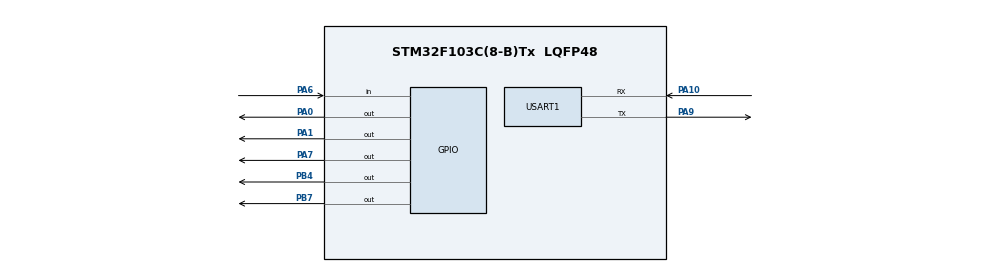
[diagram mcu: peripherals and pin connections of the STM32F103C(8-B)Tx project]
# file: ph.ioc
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Mcu.Family=STM32F1
Mcu.Name=STM32F103C(8-B)Tx
Mcu.Package=LQFP48
NVIC.PriorityGroup=NVIC_PRIORITYGROUP_4
PA0-WKUP.Signal=GPIO_Output
PA1.Signal=GPIO_Output
PA10.Mode=Asynchronous
PA10.Signal=USART1_RX
PA13.Mode=Serial_Wire
PA13.Signal=SYS_JTMS-SWDIO
PA14.Mode=Serial_Wire
PA14.Signal=SYS_JTCK-SWCLK
PA6.Signal=GPIO_Input
PA7.Signal=GPIO_Output
PA9.Mode=Asynchronous
PA9.Signal=USART1_TX
PB4.Signal=GPIO_Output
PB7.Signal=GPIO_Output
ProjectManager.HeapSize=0x200
ProjectManager.StackSize=0x400
ProjectManager.TargetToolchain=MDK-ARM V5
RCC.APB1Freq_Value=8000000
RCC.APB2Freq_Value=8000000
USART1.VirtualMode=VM_ASYNC
VP_CRC_VS_CRC.Mode=CRC_Activate
board=custom

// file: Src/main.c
/* USER CODE BEGIN Header */
/**
  ******************************************************************************
  * @file           : main.c
  * @brief          : Main program body
  ******************************************************************************
  * @attention
  *
  * <h2><center>&copy; Copyright (c) 2019 STMicroelectronics.
  * All rights reserved.</center></h2>
  *
  * This software component is licensed by ST under BSD 3-Clause license,
  * the "License"; You may not use this file except in compliance with the
  * License. You may obtain a copy of the License at:
  *                        opensource.org/licenses/BSD-3-Clause
  *
  ******************************************************************************
  */
/* USER CODE END Header */

#include "main.h"
#include "crc.h"
#include "usart.h"
#include "gpio.h"
#include        <math.h>

/* USER CODE BEGIN PTD */
#include <stdio.h>
unsigned int chin[4];
float chin1[4],curr,percent,span,zero;
unsigned int tagcj;
unsigned char serialfg,a[4];
unsigned char tagcj2,dizhi;
unsigned long eepromadd=0x08080000,romadd;//0x0808 07FF--2047
unsigned char aRxBuffer;

void Delay(uint32_t nCount)
{
	int m, n;

	for(m=nCount; m>0; m--)
	{
		for(n=65535; n>0; n--)
			;
	}
}
unsigned char Read8()
{
	unsigned char cLoop,j;
	unsigned char cData;
	for(cLoop=0;cLoop<8;cLoop++)
	{
	  for(j=0;j<13;j++)
	  {
				/*CS5524-SCK*/
			  HAL_GPIO_WritePin(GPIOA,GPIO_PIN_1,GPIO_PIN_RESET);//SPI2_SCK=0;
  	}
	  for(j=0;j<13;j++)
	  {
				/*CS5524-SCK*/
				HAL_GPIO_WritePin(GPIOA,GPIO_PIN_1, GPIO_PIN_SET);//SPI2_SCK=1;
	  }
	  //bData=SPI2_MISO;
	  cData<<=1;
		if(HAL_GPIO_ReadPin(GPIOA, GPIO_PIN_6) != 0)
		{
			cData|=0x01;//return SHIELD_DETECTED;CS5524-SO
		}

	}
	return cData;
}
void Write8(unsigned char cData)
{
	unsigned char cLoop,j;

	for(cLoop=0;cLoop<8;cLoop++)
	{
 	  if((cData&0x80)==0)
		//if(((cData << cLoop ) & 0x80) == 0x80)
    {
        /*CS5524-SI*/
				HAL_GPIO_WritePin(GPIOA,GPIO_PIN_7, GPIO_PIN_RESET);//SPI2_MOSI=0;
    }
    else
    {
        /*CS5524-SI*/
				HAL_GPIO_WritePin(GPIOA,GPIO_PIN_7, GPIO_PIN_SET);//SPI2_MOSI=1;
    }
 	 	for(j=0;j<13;j++)
	  {
				/*CS5524-SCK*/
				HAL_GPIO_WritePin(GPIOA,GPIO_PIN_1, GPIO_PIN_RESET);//SPI2_SCK=0;
  	}
	  for(j=0;j<13;j++)
	  {
				/*CS5524-SCK*/
				HAL_GPIO_WritePin(GPIOA,GPIO_PIN_1, GPIO_PIN_SET);//SPI2_SCK=1;
	  }
   cData<<=1;
  }
}
/*--------------*/
unsigned char a1,a2,a3;
void initCS(void)
{
  unsigned int i;
  for(i=0;i<2047;i++) //延时2048个CS5523_SCLK周期，等待晶振稳定
	{
		/*CS5524-SCK*/
		HAL_GPIO_WritePin(GPIOA,GPIO_PIN_1,GPIO_PIN_SET);//SPI2_SCK=1;
		/*CS5524-SCK*/
		HAL_GPIO_WritePin(GPIOA,GPIO_PIN_1, GPIO_PIN_RESET);//SPI2_SCK=0;
		//printf("jdkljflkdfj:%d\n",i);
	}
	/*CS5524-SI*/
	HAL_GPIO_WritePin(GPIOA,GPIO_PIN_7, GPIO_PIN_SET);//SPI2_MOSI=1;
	for(i=0;i<254;i++)
	{
		/*CS5524-SCK*/
		HAL_GPIO_WritePin(GPIOA,GPIO_PIN_1, GPIO_PIN_SET);//SPI2_SCK=1;
	  /*CS5524-SCK*/
		HAL_GPIO_WritePin(GPIOA,GPIO_PIN_1, GPIO_PIN_RESET);

	}
	/*CS5524-SI*/
	HAL_GPIO_WritePin(GPIOA,GPIO_PIN_7, GPIO_PIN_RESET);//SPI2_MOSI=0;
	/*CS5524-SCK*/
	HAL_GPIO_WritePin(GPIOA,GPIO_PIN_1, GPIO_PIN_SET);//SPI2_SCK=1;
	/*CS5524-SCK*/
	HAL_GPIO_WritePin(GPIOA,GPIO_PIN_1, GPIO_PIN_RESET);//SPI2_SCK=0;

	Write8(0xff);
	Write8(0xfe);

	Write8(0x03);
	Write8(0x07);
	Write8(0x30);
	Write8(0x40);

  HAL_Delay(2000);

loop:
	Write8(0x0b);
	HAL_Delay(2000);
	a1=Read8();
	a2=Read8();
	a3=Read8();
	printf("1@@@@@@@ccc:%x  %x  %x\n",a1,a2,a3);

if ((a3 & 0x40)==0x00) goto loop;//测RV=1，如不为1，则要再读配置寄存器

  //配置寄存器
#if 1
	Write8(0x03);
  Write8(0x07);
	Write8(0x30);
	Write8(0x40);
#else
  Write8(0x03);
  Write8(0x00);
	Write8(0x30);
	Write8(0x00);
#endif
	HAL_Delay(2000);

	//读取配置寄存器
	Write8(0x0b);
	HAL_Delay(2000);
	a1=Read8();
	a2=Read8();
	a3=Read8();
	printf("config:%x  %x  %x\n",a1,a2,a3);

	//通道设置寄存器 写  101
	Write8(0x05);
//	Write8(0x01);
//	Write8(0xb0);//
//	Write8(0x9b);//
//	Write8(0x11);//0000 0010
//  Write8(0xb1);//0000 0011
//  Write8(0x9a);//1000 0001

	Write8(0x00);
	Write8(0xa0);// 10   60
	Write8(0x83);// 81 83
	Write8(0x10);//
	Write8(0x11);//11(100ml)  91 5v  71（1v）
	Write8(0x81);//
	// 0000 0000  0001          0000  1000  0001         0001 0000    0001         0001  1000 0001
	// 通道1 15hz   100mv  单   通道2  15hz  100mv  单    通道3  15hz  100mv  单   通道4  15hz    100mv  单
	//               1v    双  0110

	//偏移校准
	Write8(0x81);//1000 0001
	do
	{
	}while((HAL_GPIO_ReadPin(GPIOA, GPIO_PIN_6))!=0);

	Write8(0x89);//1000 1001
	do
	{
	}while((HAL_GPIO_ReadPin(GPIOA, GPIO_PIN_6))!=0);

	Write8(0x91);//1001 0001
	do
	{
	}while((HAL_GPIO_ReadPin(GPIOA, GPIO_PIN_6))!=0);

	Write8(0x99);// 1001 1001
	do
	{
	}while((HAL_GPIO_ReadPin(GPIOA, GPIO_PIN_6))!=0);
	Write8(0xA1);//1010 0001
	do
	{
	}while((HAL_GPIO_ReadPin(GPIOA, GPIO_PIN_6))!=0);
	Write8(0xA9);//1010  1001
	do
	{
	}while((HAL_GPIO_ReadPin(GPIOA, GPIO_PIN_6))!=0);
	Write8(0xB1);//1011 0001
	do
	{
	}while((HAL_GPIO_ReadPin(GPIOA, GPIO_PIN_6))!=0);
	Write8(0xB9); //1011 1001
	do
	{
	}while((HAL_GPIO_ReadPin(GPIOA, GPIO_PIN_6))!=0);

	//增益校准
	Write8(0x82);//1000 0010
	do
	{
	}while((HAL_GPIO_ReadPin(GPIOA, GPIO_PIN_6))!=0);
	Write8(0x8A);//1000 1010
	do
	{
	}while((HAL_GPIO_ReadPin(GPIOA, GPIO_PIN_6))!=0);
	Write8(0x92);//1001 0010
	do
	{
	}while((HAL_GPIO_ReadPin(GPIOA, GPIO_PIN_6))!=0);
	Write8(0x9A);//1001 1010
	do
	{
	}while((HAL_GPIO_ReadPin(GPIOA, GPIO_PIN_6))!=0);
	Write8(0xA2);//1010 0010
	do
	{
	}while((HAL_GPIO_ReadPin(GPIOA, GPIO_PIN_6))!=0);
	Write8(0xAA);//1010 1010
	do
	{
	}while((HAL_GPIO_ReadPin(GPIOA, GPIO_PIN_6))!=0);
	Write8(0xB2);//1011  0010
	do
	{
	}while((HAL_GPIO_ReadPin(GPIOA, GPIO_PIN_6))!=0);
	Write8(0xBA);//1011  1010
	do
	{
	}while((HAL_GPIO_ReadPin(GPIOA, GPIO_PIN_6))!=0);

	printf("initCS  finish\n");

}
float temp;
//电压换算成温度
float temp_data(float adc)
{
   float Rt=0;
   float Rp=10000;
   float T2=273.15+25;
   float Bx=3950;
   float Ka=273.15;
   float vol=0;
   vol=(float)(adc*(5/65535));
   Rt=(5-vol)*10000/vol;
   temp=1/(1/T2+log(Rt/Rp)/Bx)-Ka+0.5;
	return temp;
}
#define                K_TEMP                (273.15)
#define                NTC_R1                (10)                //25°C时的电阻值(10K)
#define                NTC_T1                (25+K_TEMP)        //温度值
#define                NTC_B                        (3900)      //B值
#define                Rm                                (10)                //标准电阻值（单位k)

float Count_NTC(float NTC_R2){

        float i,j,r1,r2;

        r1=log(NTC_R1);
        r2=log(NTC_R2);
        j=(r1-r2)/NTC_B;
        i=1/NTC_T1-j;
        j=1/i-K_TEMP;
        return (j);
}
#if 0
float NTC_GetTemp_Do(float u1){
        float i1,r2;

        if(u1 !=0){

                i1=((float)MAX_U_REF-u1)/Rm;                                                //得到电流
                r2=u1/i1;                                        //计算电阻
                u1=Mp1.Cb+Count_NTC(r2)+CBK;;
                if(fabs(u1-LedMenu.C) >0.25) LedMenu.C=u1;
                if(LedMenu.C > MAX_TH){ LedMenu.B=0;  Err.T_r=1; }
                if(LedMenu.C < MIN_TL){ LedMenu.B=0;  Err.T_r=2; }
        }else{

        }
        return LedMenu.C;
}
#endif
void readChnData()
{
		unsigned char ch0;
		unsigned char cl0;

		unsigned int  ttt[4];

	unsigned int chin2[4];
		unsigned int chin3[4];
		unsigned int chin4[4];
		unsigned int chin5[4];

		Write8(0xff);
		ch0=Read8();
		cl0=Read8();
		ttt[0] = ch0*256+cl0;
	  cl0=Read8();
		//printf("CCCCCCCCCCCCCCCCCCCC1:%d\n",cl0);
	  //chin2[1]=ttt[0];
		//chin3[1]=(chin3[1]+chin2[1])/2;
		//chin4[1]=(chin4[1]+chin3[1])/2;
		//chin5[1]=(chin5[1]+chin4[1])/2;
//chin[1]=(chin[1]+chin5[1])/2;

		ch0=Read8();
		cl0=Read8();
		ttt[1] = ch0*256+cl0;
		cl0=Read8();
		//printf("CCCCCCCCCCCCCCCCCCCC2:%d\n",cl0);
		//chin2[1]=ttt[1];
		//chin3[1]=(chin3[1]+chin2[1])/2;
		//chin4[1]=(chin4[1]+chin3[1])/2;
		//chin5[1]=(chin5[1]+chin4[1])/2;
	//	chin[1]=(chin[1]+chin5[1])/2;

		ch0=Read8();
		cl0=Read8();
		ttt[2] = ch0*256+cl0;
		cl0=Read8();
		//printf("CCCCCCCCCCCCCCCCCCCC3:%d  %d\n",cl0,NTC_CalcTemp(ttt[2]));
		//chin2[2]=ttt[2];
	//	chin3[2]=(chin3[2]+chin2[2])/2;
		//chin4[2]=(chin4[2]+chin3[2])/2;
	//	chin5[2]=(chin5[2]+chin4[2])/2;
	//	chin[2]=(chin[2]+chin5[2])/2;

		ch0=Read8();
		cl0=Read8();
		ttt[3] = ch0*256+cl0;
		cl0=Read8();
		//printf("CCCCCCCCCCCCCCCCCCCC4:%d\n",cl0);
	//	chin2[3]=ttt[3];
	//	chin3[3]=(chin1[3]+chin2[3])/2;
	//	chin4[3]=(chin4[3]+chin3[3])/2;
	//	chin5[3]=(chin5[3]+chin4[3])/2;
	//	chin[3]=(chin[3]+chin5[3])/2;
	printf("@@@@@@@@@@:%f\n",temp_data(1000));
		printf("=======1  [%d]  [%d]  [%d]  [%d]\n",ttt[0],ttt[1],ttt[2],ttt[3]);
		//printf("=======2  [%d]  [%d]  [%d]  [%d]\n",chin[0],chin[1],chin[2],chin[3]);

}

void ScanADC()
{
  /*CS5524-CS*/
	//HAL_GPIO_WritePin(GPIOA,GPIO_PIN_0, GPIO_PIN_RESET);//CS=0;

#if 0
	Write8(0x80);
	do
	{
	}while((HAL_GPIO_ReadPin(GPIOA, GPIO_PIN_6))==0);
	Write8(0x00);
	a1=Read8();
	a2=Read8();
	a3=Read8();
	printf("1@@@@@@@@@@@@@@:%d   %f  [%d,%d,%d]\n",a1*256+a2, temp_data(a1*256+a2),a1,a2,a3);

	HAL_Delay(2000);
	Write8(0x88);
	do
	{
	}while((HAL_GPIO_ReadPin(GPIOA, GPIO_PIN_6))==0);
	Write8(0x00);
	a1=Read8();
	a2=Read8();
	a3=Read8();
	printf("2@@@@@@@@@@@@@@:%d   %f [%d,%d,%d]\n",a1*256+a2, temp_data(a1*256+a2),a1,a2,a3);

	HAL_Delay(2000);
	Write8(0x90);
	do
	{
	}while((HAL_GPIO_ReadPin(GPIOA, GPIO_PIN_6))==0);
	Write8(0x00);
	a1=Read8();
	a2=Read8();
	a3=Read8();
	printf("3@@@@@@@@@@@@@@:%d   %f [%d,%d,%d]\n",a1*256+a2, temp_data(a1*256+a2),a1,a2,a3);

	HAL_Delay(2000);
	Write8(0x98);
	do
	{
	}while((HAL_GPIO_ReadPin(GPIOA, GPIO_PIN_6))==0);
	Write8(0x00);
	a1=Read8();
	a2=Read8();
	a3=Read8();
	printf("4@@@@@@@@@@@@@@:%d   %f [%d,%d,%d]\n",a1*256+a2, temp_data(a1*256+a2),a1,a2,a3);

#else
	//执行转换
	Write8(0x80);
	do
	{
		//SD0变为低电平，意试转换数据已备好
	}while((HAL_GPIO_ReadPin(GPIOA, GPIO_PIN_6))==0);
	//读取数据
  readChnData();
#endif

	//HAL_GPIO_WritePin(GPIOA,GPIO_PIN_0, GPIO_PIN_SET);//CS=1;
}

int fputc(int c, FILE *stream)    //??fputc??
{
 /*
    huart1??????????UART1???,
    ?????????????,?????????????UART????
*/
    HAL_UART_Transmit(&huart1, (unsigned char *)&c, 1, 1000);
    return 1;
}

void cs5523_init(){
	int flag22 = 0;

	while(flag22 == 0){
		Write8(0x0b);
		unsigned char a4,a5,a6;
	  a4=Read8();
	  a5=Read8();
	  a6=Read8();
		printf("QQQQQQQQQQQQQQQQQQQQQQ %x  %x %x\n",a4,a5,a6);
		if((a4 == 0x00)&& (a5 == 0x00) && (a6 == 0xC0)){
			flag22 =  1;
			Write8(0x03);
      Write8(0x00);
	    Write8(0x00);
	    Write8(0x00);
			printf("rrrrrrrrrrrrrrrr\n");

		}
		else{
			printf("111111111111111111\n");
			flag22 = 0;
			Write8(0xff);
			HAL_Delay(1000);
			Write8(0xfe);
			HAL_Delay(1000);
			Write8(0x03);
      Write8(0x00);
	    Write8(0x00);
	    Write8(0x80);
			HAL_Delay(1000);
			Write8(0xff);
			HAL_Delay(1000);
			Write8(0xfe);

		}
	}
	Write8(0x03);
      Write8(0x04);
	    Write8(0x30);
	    Write8(0x00);
	HAL_Delay(1000);

	Write8(0x05);//通道设置寄存器 写  101
	Write8(0x07);
	Write8(0xb0);// 0000 0010  1=100mV,6=+-1000mV,b=2.5v
	Write8(0x7b);//1000  0001  子偏移校准

	Write8(0x0f);//0000 0010
	Write8(0xb0);//0000 0011
	Write8(0xfb);//1000 0001

	HAL_Delay(1000);

	/* self calibration SETUP 1 */
	Write8(0x81);//1000 0001
	do
	{
	}while((HAL_GPIO_ReadPin(GPIOA, GPIO_PIN_6))!=0);
	HAL_Delay(1000);
	/* self calibration SETUP 1 */
	Write8(0x82);//1000 0010
	do
	{
	}while((HAL_GPIO_ReadPin(GPIOA, GPIO_PIN_6))!=0);
	HAL_Delay(1000);
	printf("222222222222222222222\n");
}

/* USER CODE END PTD */

void SystemClock_Config(void);

int main(void)
{

  /* MCU Configuration--------------------------------------------------------*/

  /* Reset of all peripherals, Initializes the Flash interface and the Systick. */
  HAL_Init();

  /* Configure the system clock */
  SystemClock_Config();

  /* Initialize all configured peripherals */
  MX_GPIO_Init();
  MX_USART1_UART_Init();
  MX_CRC_Init();
  /* USER CODE BEGIN 2 */
	HAL_Delay(2000);
	HAL_GPIO_WritePin(GPIOB,GPIO_PIN_4, GPIO_PIN_SET);//CS=1;
	//HAL_Delay(1000);
	HAL_GPIO_WritePin(GPIOA,GPIO_PIN_0, GPIO_PIN_RESET);//CS=0;

  initCS();
	//cs5523_init();
  /*CS5524-CS*/

  /* USER CODE END 2 */

  /* Infinite loop */
  while (1)
  {

    /* USER CODE BEGIN 3 */
			ScanADC();
			HAL_Delay(1000);
			printf("wait wait  wait ...\r\n");
  }

	HAL_GPIO_WritePin(GPIOA,GPIO_PIN_0, GPIO_PIN_SET);//CS=1;
  /* USER CODE END 3 */
}

void SystemClock_Config(void)
{
  RCC_OscInitTypeDef RCC_OscInitStruct = {0};
  RCC_ClkInitTypeDef RCC_ClkInitStruct = {0};

  /** Initializes the CPU, AHB and APB busses clocks
  */
  RCC_OscInitStruct.OscillatorType = RCC_OSCILLATORTYPE_HSI;
  RCC_OscInitStruct.HSIState = RCC_HSI_ON;
  RCC_OscInitStruct.HSICalibrationValue = RCC_HSICALIBRATION_DEFAULT;
  RCC_OscInitStruct.PLL.PLLState = RCC_PLL_NONE;
  if (HAL_RCC_OscConfig(&RCC_OscInitStruct) != HAL_OK)
  {
    Error_Handler();
  }
  /** Initializes the CPU, AHB and APB busses clocks
  */
  RCC_ClkInitStruct.ClockType = RCC_CLOCKTYPE_HCLK|RCC_CLOCKTYPE_SYSCLK
                              |RCC_CLOCKTYPE_PCLK1|RCC_CLOCKTYPE_PCLK2;
  RCC_ClkInitStruct.SYSCLKSource = RCC_SYSCLKSOURCE_HSI;
  RCC_ClkInitStruct.AHBCLKDivider = RCC_SYSCLK_DIV1;
  RCC_ClkInitStruct.APB1CLKDivider = RCC_HCLK_DIV1;
  RCC_ClkInitStruct.APB2CLKDivider = RCC_HCLK_DIV1;

  if (HAL_RCC_ClockConfig(&RCC_ClkInitStruct, FLASH_LATENCY_0) != HAL_OK)
  {
    Error_Handler();
  }
}

void Error_Handler(void)
{
}

/************************ (C) COPYRIGHT STMicroelectronics *****END OF FILE****/
